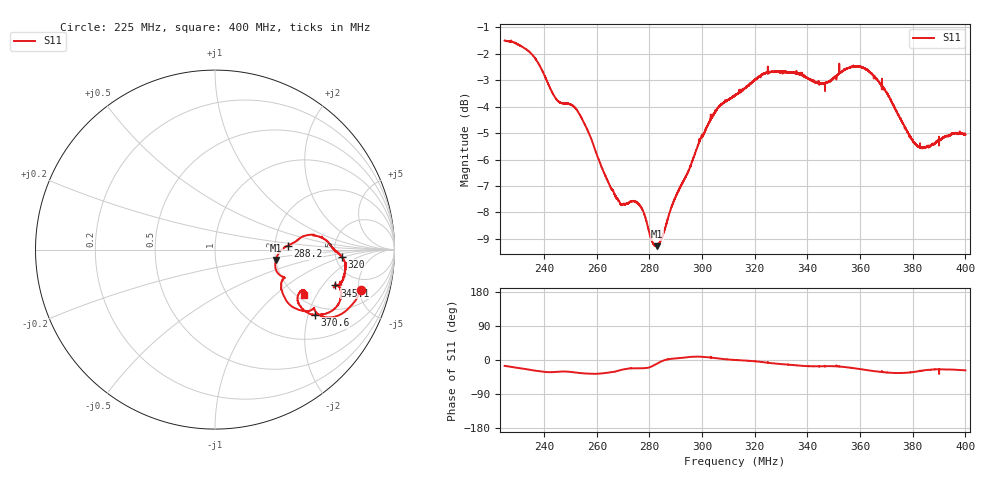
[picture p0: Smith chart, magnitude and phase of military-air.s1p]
! Calibrated averaged scanner-service zoom
# Hz S RI R 50
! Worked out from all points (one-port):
!   10001 points, 225 MHz to 400 MHz, reference 50 ohm
!   lowest |S11| = -9.3 dB at 282.8 MHz (marker M1), VSWR 2.05, Z = 100 - j13.2 ohm
!   |S11| at or under -10 dB: nowhere
!   S11 on the Smith chart (normalised r, x): 225 MHz: 3.39, -5.22; 288.2 MHz: 2.35, +0.12; 320 MHz: 5.68, -0.94; 345.1 MHz: 3.43, -2.68; 370.6 MHz: 1.70, -2.21; 400 MHz: 2.16, -1.61
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2.25e8  0.8113 -0.2244
2.32525e8  0.7471 -0.3241
2.377925e8  0.6643 -0.3749
2.4278e8  0.5731 -0.3587
2.46875e8  0.5519 -0.3249
2.509175e8  0.5368 -0.3371
2.56955e8  0.4555 -0.3305
2.619075e8  0.395 -0.2799
2.6875e8  0.3694 -0.1897
2.741225e8  0.3878 -0.1565
2.78515e8  0.3612 -0.1422
2.82785e8  0.3385 -0.0584
2.881925e8  0.4043 0.0215
2.90625e8  0.4318 0.0353
2.9913e8  0.5378 0.083
3.06305e8  0.6282 0.0446
3.125e8  0.663 0.00244
3.1999e8  0.7065 -0.0412
3.254325e8  0.7257 -0.0974
3.34375e8  0.7125 -0.1674
3.45085e8  0.6695 -0.1997
3.50545e8  0.6899 -0.205
3.5625e8  0.7014 -0.2608
3.642475e8  0.6418 -0.347
3.706175e8  0.5555 -0.3636
3.78125e8  0.4713 -0.3104
3.8775e8  0.4857 -0.2276
4e8  0.4973 -0.2558
